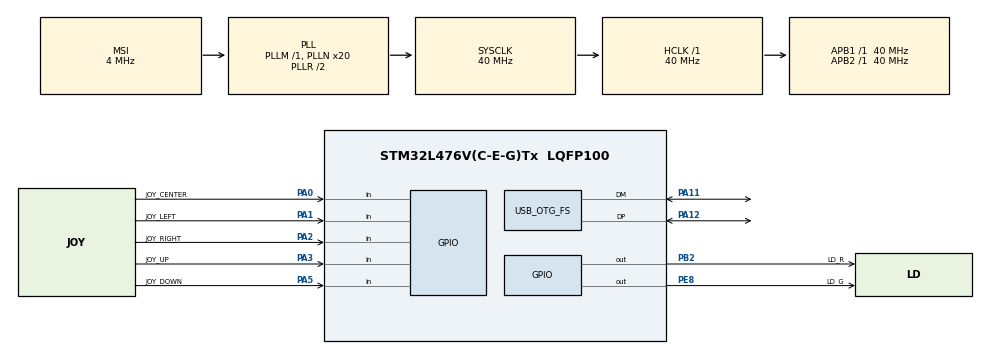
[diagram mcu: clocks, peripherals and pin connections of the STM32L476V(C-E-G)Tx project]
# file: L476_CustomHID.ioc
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Mcu.Family=STM32L4
Mcu.Name=STM32L476V(C-E-G)Tx
Mcu.Package=LQFP100
Mcu.UserConstants=ARRAY2ST,1;ARRAY2HOST,8
NVIC.OTG_FS_IRQn=true\:0\:0\:false\:false\:true\:false\:true
NVIC.PriorityGroup=NVIC_PRIORITYGROUP_4
PA0.GPIO_Label=JOY_CENTER
PA0.GPIO_PuPd=GPIO_PULLDOWN
PA0.Signal=GPIO_Input
PA1.GPIO_Label=JOY_LEFT
PA1.GPIO_PuPd=GPIO_PULLDOWN
PA1.Signal=GPIO_Input
PA11.Mode=Device_Only
PA11.Signal=USB_OTG_FS_DM
PA12.Mode=Device_Only
PA12.Signal=USB_OTG_FS_DP
PA13\ (JTMS-SWDIO).Mode=Serial_Wire
PA13\ (JTMS-SWDIO).Signal=SYS_JTMS-SWDIO
PA14\ (JTCK-SWCLK).Mode=Serial_Wire
PA14\ (JTCK-SWCLK).Signal=SYS_JTCK-SWCLK
PA2.GPIO_Label=JOY_RIGHT
PA2.GPIO_PuPd=GPIO_PULLDOWN
PA2.Signal=GPIO_Input
PA3.GPIO_Label=JOY_UP
PA3.GPIO_PuPd=GPIO_PULLDOWN
PA3.Signal=GPIO_Input
PA5.GPIO_Label=JOY_DOWN
PA5.GPIO_PuPd=GPIO_PULLDOWN
PA5.Signal=GPIO_Input
PB2.GPIO_Label=LD_R
PB2.Signal=GPIO_Output
PE8.GPIO_Label=LD_G
PE8.Signal=GPIO_Output
ProjectManager.HeapSize=0x200
ProjectManager.StackSize=0x400
ProjectManager.TargetToolchain=STM32CubeIDE
RCC.ADCFreq_Value=48000000
RCC.AHBFreq_Value=40000000
RCC.APB1Freq_Value=40000000
RCC.APB1TimFreq_Value=40000000
RCC.APB2Freq_Value=40000000
RCC.APB2TimFreq_Value=40000000
RCC.CortexFreq_Value=40000000
RCC.HCLKFreq_Value=40000000
RCC.HSE_VALUE=8000000
RCC.HSI_VALUE=16000000
RCC.LSE_VALUE=32768
RCC.MSI_VALUE=4000000
RCC.PLLN=20
RCC.PLLSAI1N=24
RCC.SYSCLKFreq_VALUE=40000000
RCC.SYSCLKSource=RCC_SYSCLKSOURCE_PLLCLK
RCC.USBFreq_Value=48000000
RCC.VCOOutputFreq_Value=80000000
USB_DEVICE.CLASS_NAME_FS=CUSTOM_HID
USB_DEVICE.USBD_CUSTOMHID_OUTREPORT_BUF_SIZE=64
USB_DEVICE.USBD_CUSTOM_HID_REPORT_DESC_SIZE=79
USB_DEVICE.USBD_SELF_POWERED=0
USB_DEVICE.VirtualMode=CustomHid
USB_DEVICE.VirtualModeFS=Custom_Hid_FS
USB_OTG_FS.VirtualMode=Device_Only
VP_USB_DEVICE_VS_USB_DEVICE_CUSTOM_HID_FS.Mode=CUSTOM_HID_FS
board=STM32L476G-DISCO

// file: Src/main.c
/* USER CODE BEGIN Header */
/**
  ******************************************************************************
  * @file           : main.c
  * @brief          : Main program body
  ******************************************************************************
  * @attention
  *
  * <h2><center>&copy; Copyright (c) 2019 STMicroelectronics.
  * All rights reserved.</center></h2>
  *
  * This software component is licensed by ST under BSD 3-Clause license,
  * the "License"; You may not use this file except in compliance with the
  * License. You may obtain a copy of the License at:
  *                        opensource.org/licenses/BSD-3-Clause
  *
  ******************************************************************************
  */
/* USER CODE END Header */

#include "main.h"
#include "usb_device.h"

/* USER CODE BEGIN Includes */
#warning "Check usbd_customhid.h for CUSTOM_HID_EPIN_SIZE & CUSTOM_HID_EPOUT_SIZE"
#warning "Should be 0x40 for both"

#include "usbd_customhid.h"

/* USER CODE END Includes */

/* USER CODE BEGIN PV */
extern USBD_HandleTypeDef hUsbDeviceFS;
//extern USBD_HandleTypeDef  *hUsbDevice_0;
uint8_t USB_RX_Buffer[64];
uint8_t USB_TX_Buffer[64];
FlagStatus USBDatainReady = RESET;
FlagStatus USBDataOutReady = RESET;

/* USER CODE END PV */

void SystemClock_Config(void);
static void MX_GPIO_Init(void);

int main(void)
{
  /* USER CODE BEGIN 1 */
FlagStatus LED_Status;
  /* USER CODE END 1 */

  /* MCU Configuration--------------------------------------------------------*/

  /* Reset of all peripherals, Initializes the Flash interface and the Systick. */
  HAL_Init();

  /* Configure the system clock */
  SystemClock_Config();

  /* Initialize all configured peripherals */
  MX_GPIO_Init();
  MX_USB_DEVICE_Init();

  /* Infinite loop */
  while (1)
  {

    /* USER CODE BEGIN 3 */
	  if(USBDatainReady == SET)
	  {
		  if(USB_RX_Buffer[1])
			  LED_Status = SET;
		  else
			  LED_Status = RESET;

		  switch(USB_RX_Buffer[0] & 0x3)
		  {
/*		  case 0: HAL_GPIO_WritePin(LD_R_GPIO_Port, LD_R_Pin, GPIO_PIN_RESET);
		  	  	  HAL_GPIO_WritePin(LD_G_GPIO_Port, LD_G_Pin, GPIO_PIN_RESET);
		  	  	  break;*/
		  case 1: if(LED_Status == SET)
			  	  	  HAL_GPIO_WritePin(LD_R_GPIO_Port, LD_R_Pin, GPIO_PIN_SET);
		  	  	  else
		  	  		  HAL_GPIO_WritePin(LD_R_GPIO_Port, LD_R_Pin, GPIO_PIN_RESET);
  	  	  	  	  break;
		  case 2: if(LED_Status == SET)
			  	  	  HAL_GPIO_WritePin(LD_G_GPIO_Port, LD_G_Pin, GPIO_PIN_SET);
		  	  	  else
		  	  		  HAL_GPIO_WritePin(LD_G_GPIO_Port, LD_G_Pin, GPIO_PIN_RESET);
  	  	  	  	  break;
/*		  case 3: HAL_GPIO_WritePin(LD_R_GPIO_Port, LD_R_Pin, GPIO_PIN_SET);
  	  	  	  	  HAL_GPIO_WritePin(LD_G_GPIO_Port, LD_G_Pin, GPIO_PIN_SET);
*/
		  default: break;
		  }

		  USBDatainReady = RESET;
	  }

	  USB_TX_Buffer[1] = HAL_GPIO_ReadPin(JOY_CENTER_GPIO_Port, JOY_CENTER_Pin);
	  USB_TX_Buffer[2] = HAL_GPIO_ReadPin(JOY_LEFT_GPIO_Port, JOY_LEFT_Pin);
	  USB_TX_Buffer[3] = HAL_GPIO_ReadPin(JOY_RIGHT_GPIO_Port, JOY_RIGHT_Pin);
	  USB_TX_Buffer[4] = HAL_GPIO_ReadPin(JOY_UP_GPIO_Port, JOY_UP_Pin);
	  USB_TX_Buffer[5] = HAL_GPIO_ReadPin(JOY_DOWN_GPIO_Port, JOY_DOWN_Pin);
	  USB_TX_Buffer[6] = HAL_GPIO_ReadPin(LD_R_GPIO_Port, LD_R_Pin) | HAL_GPIO_ReadPin(LD_G_GPIO_Port, LD_G_Pin) << 1;
	  if (USB_TX_Buffer[1] || USB_TX_Buffer[2] || USB_TX_Buffer[3] || USB_TX_Buffer[4] || USB_TX_Buffer[5] || USB_TX_Buffer[6])
	  {
		  USB_TX_Buffer[0] = 4;	//   REPORT_ID (4)
		  USBDataOutReady = SET;
	  }
	  else
		  USBDataOutReady = RESET;

	  USB_TX_Buffer[7] = 0x55;
	  USB_TX_Buffer[8] = 0xAA;

	  if(USBDataOutReady == SET)
		  USBD_CUSTOM_HID_SendReport(&hUsbDeviceFS,USB_TX_Buffer,ARRAY2HOST+1); // To send usb buffer to PC

//	  HAL_Delay(50);

  }
  /* USER CODE END 3 */
}

void SystemClock_Config(void)
{
  RCC_OscInitTypeDef RCC_OscInitStruct = {0};
  RCC_ClkInitTypeDef RCC_ClkInitStruct = {0};
  RCC_PeriphCLKInitTypeDef PeriphClkInit = {0};

  /** Initializes the CPU, AHB and APB busses clocks
  */
  RCC_OscInitStruct.OscillatorType = RCC_OSCILLATORTYPE_MSI;
  RCC_OscInitStruct.MSIState = RCC_MSI_ON;
  RCC_OscInitStruct.MSICalibrationValue = 0;
  RCC_OscInitStruct.MSIClockRange = RCC_MSIRANGE_6;
  RCC_OscInitStruct.PLL.PLLState = RCC_PLL_ON;
  RCC_OscInitStruct.PLL.PLLSource = RCC_PLLSOURCE_MSI;
  RCC_OscInitStruct.PLL.PLLM = 1;
  RCC_OscInitStruct.PLL.PLLN = 20;
  RCC_OscInitStruct.PLL.PLLP = RCC_PLLP_DIV7;
  RCC_OscInitStruct.PLL.PLLQ = RCC_PLLQ_DIV2;
  RCC_OscInitStruct.PLL.PLLR = RCC_PLLR_DIV2;
  if (HAL_RCC_OscConfig(&RCC_OscInitStruct) != HAL_OK)
  {
    Error_Handler();
  }
  /** Initializes the CPU, AHB and APB busses clocks
  */
  RCC_ClkInitStruct.ClockType = RCC_CLOCKTYPE_HCLK|RCC_CLOCKTYPE_SYSCLK
                              |RCC_CLOCKTYPE_PCLK1|RCC_CLOCKTYPE_PCLK2;
  RCC_ClkInitStruct.SYSCLKSource = RCC_SYSCLKSOURCE_PLLCLK;
  RCC_ClkInitStruct.AHBCLKDivider = RCC_SYSCLK_DIV1;
  RCC_ClkInitStruct.APB1CLKDivider = RCC_HCLK_DIV1;
  RCC_ClkInitStruct.APB2CLKDivider = RCC_HCLK_DIV1;

  if (HAL_RCC_ClockConfig(&RCC_ClkInitStruct, FLASH_LATENCY_2) != HAL_OK)
  {
    Error_Handler();
  }
  PeriphClkInit.PeriphClockSelection = RCC_PERIPHCLK_USB;
  PeriphClkInit.UsbClockSelection = RCC_USBCLKSOURCE_PLLSAI1;
  PeriphClkInit.PLLSAI1.PLLSAI1Source = RCC_PLLSOURCE_MSI;
  PeriphClkInit.PLLSAI1.PLLSAI1M = 1;
  PeriphClkInit.PLLSAI1.PLLSAI1N = 24;
  PeriphClkInit.PLLSAI1.PLLSAI1P = RCC_PLLP_DIV7;
  PeriphClkInit.PLLSAI1.PLLSAI1Q = RCC_PLLQ_DIV2;
  PeriphClkInit.PLLSAI1.PLLSAI1R = RCC_PLLR_DIV2;
  PeriphClkInit.PLLSAI1.PLLSAI1ClockOut = RCC_PLLSAI1_48M2CLK;
  if (HAL_RCCEx_PeriphCLKConfig(&PeriphClkInit) != HAL_OK)
  {
    Error_Handler();
  }
  /** Configure the main internal regulator output voltage
  */
  if (HAL_PWREx_ControlVoltageScaling(PWR_REGULATOR_VOLTAGE_SCALE1) != HAL_OK)
  {
    Error_Handler();
  }
}

static void MX_GPIO_Init(void)
{
  GPIO_InitTypeDef GPIO_InitStruct = {0};

  /* GPIO Ports Clock Enable */
  __HAL_RCC_GPIOA_CLK_ENABLE();
  __HAL_RCC_GPIOB_CLK_ENABLE();
  __HAL_RCC_GPIOE_CLK_ENABLE();

  /*Configure GPIO pin Output Level */
  HAL_GPIO_WritePin(LD_R_GPIO_Port, LD_R_Pin, GPIO_PIN_RESET);

  /*Configure GPIO pin Output Level */
  HAL_GPIO_WritePin(LD_G_GPIO_Port, LD_G_Pin, GPIO_PIN_RESET);

  /*Configure GPIO pins : JOY_CENTER_Pin JOY_LEFT_Pin JOY_RIGHT_Pin JOY_UP_Pin
                           JOY_DOWN_Pin */
  GPIO_InitStruct.Pin = JOY_CENTER_Pin|JOY_LEFT_Pin|JOY_RIGHT_Pin|JOY_UP_Pin
                          |JOY_DOWN_Pin;
  GPIO_InitStruct.Mode = GPIO_MODE_INPUT;
  GPIO_InitStruct.Pull = GPIO_PULLDOWN;
  HAL_GPIO_Init(GPIOA, &GPIO_InitStruct);

  /*Configure GPIO pin : LD_R_Pin */
  GPIO_InitStruct.Pin = LD_R_Pin;
  GPIO_InitStruct.Mode = GPIO_MODE_OUTPUT_PP;
  GPIO_InitStruct.Pull = GPIO_NOPULL;
  GPIO_InitStruct.Speed = GPIO_SPEED_FREQ_LOW;
  HAL_GPIO_Init(LD_R_GPIO_Port, &GPIO_InitStruct);

  /*Configure GPIO pin : LD_G_Pin */
  GPIO_InitStruct.Pin = LD_G_Pin;
  GPIO_InitStruct.Mode = GPIO_MODE_OUTPUT_PP;
  GPIO_InitStruct.Pull = GPIO_NOPULL;
  GPIO_InitStruct.Speed = GPIO_SPEED_FREQ_LOW;
  HAL_GPIO_Init(LD_G_GPIO_Port, &GPIO_InitStruct);

}

void Error_Handler(void)
{
}

/************************ (C) COPYRIGHT STMicroelectronics *****END OF FILE****/
